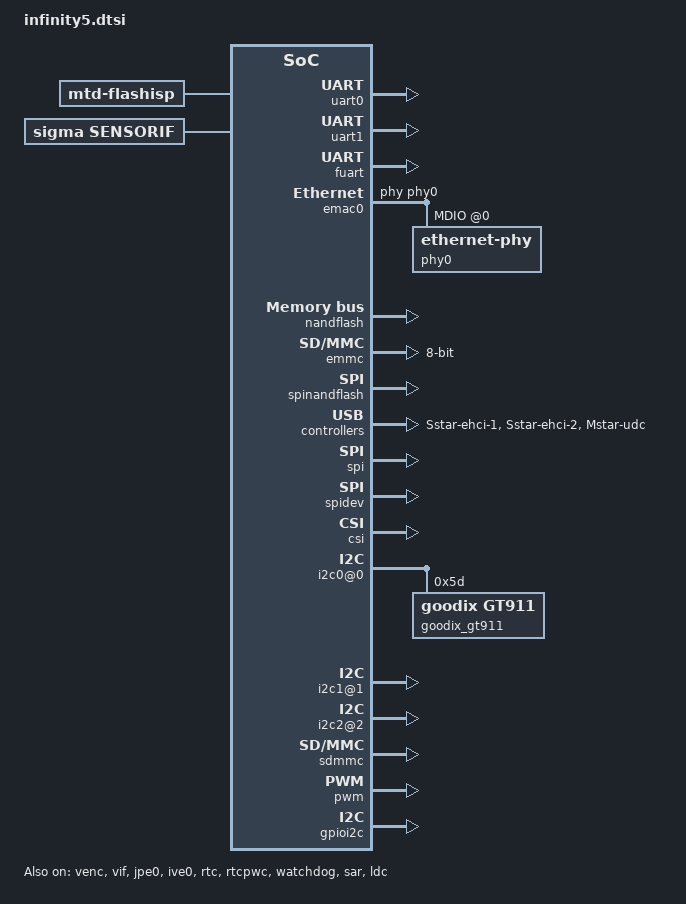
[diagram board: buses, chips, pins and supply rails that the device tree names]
/*
* infinity5.dtsi- Sigmastar
*
* Copyright (c) [2019~2020] SigmaStar Technology.
*
*
* This software is licensed under the terms of the GNU General Public
* License version 2, as published by the Free Software Foundation, and
* may be copied, distributed, and modified under those terms.
*
* This program is distributed in the hope that it will be useful,
* but WITHOUT ANY WARRANTY; without even the implied warranty of
* MERCHANTABILITY or FITNESS FOR A PARTICULAR PURPOSE.  See the
* GNU General Public License version 2 for more details.
*
*/

#include <../../../../drivers/sstar/include/infinity5/irqs.h>
#include <../../../../drivers/sstar/include/infinity5/gpio.h>
#include <dt-bindings/interrupt-controller/irq.h>
#include <dt-bindings/interrupt-controller/arm-gic.h>
#include "skeleton.dtsi"


/ {
    cpus {
        #address-cells = <1>;
        #size-cells = <0>;

        cpu@0 {
            device_type = "cpu";
            compatible = "arm,cortex-a7";
            clocks = <&CLK_cpupll_clk>;
        };
    };

    aliases {
        console = &uart0;
        serial0 = &uart0;
        serial1 = &uart1;
        serial2 = &fuart;
    };

    soc {
        compatible = "simple-bus";
        interrupt-parent = <&ms_main_intc>;
        #address-cells = <1>;
        #size-cells = <1>;
        ranges;

        gic: gic@16000000 {
            compatible = "arm,cortex-a7-gic";
            #interrupt-cells = <3>;
            #address-cells = <1>;
            #size-cells = <1>;
            interrupt-controller;
            interrupt-parent = <&gic>;
            reg = <0x16001000 0x1000>,
                  <0x16002000 0x1000>;
        };

        ms_main_intc: ms_main_intc {
            compatible = "sstar,main-intc";
            #interrupt-cells = <3>;
            #address-cells = <1>;
            #size-cells = <1>;
            interrupt-parent=<&gic>;
            interrupt-controller;
        };

        ms_pm_intc: ms_pm_intc {
            compatible = "sstar,pm-intc";
            #interrupt-cells = <1>;
            interrupt-parent=<&ms_main_intc>;
            interrupt-controller;
            interrupts = <GIC_SPI INT_IRQ_PM_SLEEP IRQ_TYPE_LEVEL_HIGH>;
        };

        arch_timer {
            compatible = "arm,cortex-a7-timer", "arm,armv7-timer";
            interrupt-parent=<&gic>;
            interrupts = <GIC_PPI 13 (GIC_CPU_MASK_SIMPLE(2) | IRQ_TYPE_LEVEL_LOW)>,
                         <GIC_PPI 14 (GIC_CPU_MASK_SIMPLE(2) | IRQ_TYPE_LEVEL_LOW)>,
                         <GIC_PPI 11 (GIC_CPU_MASK_SIMPLE(2) | IRQ_TYPE_LEVEL_LOW)>,
                         <GIC_PPI 10 (GIC_CPU_MASK_SIMPLE(2) | IRQ_TYPE_LEVEL_LOW)>;
            clock-frequency = <6000000>;
        };

        pmu {
            compatible = "arm,cortex-a7-pmu";
            interrupt-parent=<&gic>;
            interrupts = <GIC_SPI 10 IRQ_TYPE_LEVEL_HIGH>,
                         <GIC_SPI 16 IRQ_TYPE_LEVEL_HIGH>,
                         <GIC_SPI 22 IRQ_TYPE_LEVEL_HIGH>,
                         <GIC_SPI 28 IRQ_TYPE_LEVEL_HIGH>;
        };

        clks: clocks{
            #address-cells = <1>;
            #size-cells = <1>;
            ranges;
        };

/*
        timer_clockevent: timer@1F006040 {
            compatible = "sstar,piu-clockevent";
            reg = <0x1F006040 0x100>;
            interrupts=<GIC_SPI INT_FIQ_TIMER_0 IRQ_TYPE_LEVEL_HIGH>;
            clocks = <&CLK_xtali_12m>;
        };
*/

        venc{
            compatible = "sstar,venc";
            reg = <0x1F264800 0x100>, <0x1F264A00 0x100>, <0x1F264C00 0x100>,
                  <0x1F264E00 0x100>, <0x1F265000 0x100>,
                  <0x1F265200 0x100>, <0x1F265400 0x100>, <0x1F265600 0x100>, <0x1F265800 0x100>;
            reg-names = "mhe-0", "mhe-1", "mhe-2", "mfe-0", "mfe-1", "ven-0", "ven-1", "ven-2", "ven-3";
            interrupts = <GIC_SPI INT_IRQ_MHE IRQ_TYPE_LEVEL_HIGH>, <GIC_SPI INT_IRQ_MFE IRQ_TYPE_LEVEL_HIGH>;
            interrupt-parent = <&ms_main_intc>;
            interrupt-names = "mhe-irq", "mfe-irq";
            clocks = <&CLK_vhe>, <&CLK_miu_vhe>, <&CLK_riu_vhe_gp>, <&CLK_riu_w_clk_vhe_gp>, <&CLK_miu_vhe_gp_p>, <&CLK_miu_vhe_gp>;
            clock-names = "CKG_venc";
            status = "ok";
        };

        hvsp1: hvsp1 {
            compatible = "sstar,sclhvsp1_i2";
            //reg = <0x1F000000 0x100>;
            //clk,chiptop,hvsp0,sc0,dnr,ldc
            clocks = <&CLK_idclk>,<&CLK_fclk1>,<&CLK_fclk2>,<&CLK_odclk>;
            clock-names = "CLK_idclk","CLK_fclk1","CLK_fclk2","CLK_odclk";
            status = "ok";
            interrupts = <GIC_SPI INT_IRQ_SC_TOP IRQ_TYPE_LEVEL_HIGH>, <GIC_SPI INT_IRQ_SC1_TOP_INT IRQ_TYPE_LEVEL_HIGH>;
        };

        scldma1: scldma1 {
            compatible = "sstar,scldma1";
            //reg = <0x1F000000 0x100>;
            //clk,chiptop,scldma
            clocks =  <&CLK_idclk>,<&CLK_fclk1>,<&CLK_fclk2>,<&CLK_odclk>;
            clock-names = "CLK_idclk","CLK_fclk1","CLK_fclk2","CLK_odclk";
            status = "ok";
            interrupts = <GIC_SPI INT_IRQ_SC_TOP IRQ_TYPE_LEVEL_HIGH>;
        };
        scldma2: scldma2 {
            compatible = "sstar,scldma2";
            //reg = <0x1F000000 0x100>;
            //clk,chiptop,scldma
            clocks =  <&CLK_idclk>,<&CLK_fclk1>,<&CLK_fclk2>,<&CLK_odclk>;
            clock-names = "CLK_idclk","CLK_fclk1","CLK_fclk2","CLK_odclk";
            status = "ok";
            interrupts = <GIC_SPI INT_IRQ_SC_TOP IRQ_TYPE_LEVEL_HIGH>;
        };
        scldma3: scldma3 {
            compatible = "sstar,scldma3";
            //reg = <0x1F000000 0x100>;
            //clk,chiptop,scldma
            clocks =  <&CLK_idclk>,<&CLK_fclk1>,<&CLK_fclk2>,<&CLK_odclk>;
            clock-names = "CLK_idclk","CLK_fclk1","CLK_fclk2","CLK_odclk";
            status = "ok";
            interrupts = <GIC_SPI INT_IRQ_SC_TOP IRQ_TYPE_LEVEL_HIGH>;
        };
        scldma4: scldma4 {
            compatible = "sstar,scldma4";
            //reg = <0x1F000000 0x100>;
            //clk,chiptop,scldma
            clocks =  <&CLK_idclk>,<&CLK_fclk1>,<&CLK_fclk2>,<&CLK_odclk>;
            clock-names = "CLK_idclk","CLK_fclk1","CLK_fclk2","CLK_odclk";
            status = "ok";
            interrupts = <GIC_SPI INT_IRQ_SC_TOP IRQ_TYPE_LEVEL_HIGH>;
        };

        vip: vip {
            compatible = "sstar,vip";
            status = "ok";
            CMDQ-mode = <1>;
            //reg = <0x1F224000 0x200>;
        };

        pnl: pnl {
            compatible = "sstar,pnl";
            status = "ok";
            ttl-mode = <1>;
            jtag-mode = <1>;
            interrupts = <GIC_SPI INT_IRQ_SC2_TOP_INT IRQ_TYPE_LEVEL_HIGH>;
            //Reg = <0x1F224000 0x200>;
        };

        uart0: uart0@1F221000 {
            compatible = "sstar,uart";
            reg = <0x1F221000 0x100>;
            interrupts = <GIC_SPI INT_IRQ_UART_0 IRQ_TYPE_LEVEL_HIGH>;
            clocks = <&CLK_uart0>;
            status = "ok";
        };
        uart1: uart1@1F221200 {
            compatible = "sstar,uart";
            reg = <0x1F221200 0x100>;
            interrupts = <GIC_SPI INT_IRQ_UART_1 IRQ_TYPE_LEVEL_HIGH>;
            clocks = <&CLK_uart1>;
            pad = <PAD_UART1_TX>;
            //pad = <PAD_FUART_RTS>;
            //pad = <PAD_GPIO6>;
            status = "ok";
        };
        fuart: uart2@1F220400 {
            compatible = "sstar,uart";
            reg = <0x1F220400 0x100>, <0x1F220600 0x100>;
            interrupts = <GIC_SPI INT_IRQ_FUART IRQ_TYPE_LEVEL_HIGH>, <GIC_SPI INT_IRQ_URDMA IRQ_TYPE_LEVEL_HIGH>;
            clocks = <&CLK_fuart>;
            dma = <1>;
            pad = <PAD_UART0_TX>;
            //pad = <PAD_FUART_TX>;
            //pad = <PAD_GPIO4>;
            status = "ok";
        };

/*
        emac {
            compatible = "sstar-emac";
            interrupts = <GIC_SPI INT_IRQ_EMAC IRQ_TYPE_LEVEL_HIGH>, <GIC_SPI INT_FIQ_LAN_ESD IRQ_TYPE_LEVEL_HIGH>;
            clocks = <&CLK_emac_ahb>,<&CLK_emac_tx>,<&CLK_emac_rx>;
            //led-orange = <PAD_SPI0_DI>; //software toggle GPIO LED For QFN
            //led-green = <PAD_SPI0_DO>;  //software toggle GPIO LED For QFN
            status = "ok";
        };
*/

        emac0: emac0 {
            compatible = "sstar-emac";
            interrupts = <GIC_SPI INT_IRQ_EMAC IRQ_TYPE_LEVEL_HIGH>, <GIC_SPI INT_FIQ_LAN_ESD IRQ_TYPE_LEVEL_HIGH>;
            clocks = <&CLK_emac_ahb>,<&CLK_emac_tx>,<&CLK_emac_rx>;
            reg = <0x1F2A2000 0x800>, <0x1F343C00 0x600>, <0x1F006200 0x600>;
            pad = <0x1F203C3C 0x0004 0x0000>;
            phy-handle = <&phy0>;
            status = "ok";
            mdio-bus {
                phy0: ethernet-phy@0 {
                    phy-mode = "mii";
                };
            };
        };


        flashisp {
            compatible = "mtd-flashisp";
            clocks = <&CLK_bdma>;
            quadread = <0>;
            status = "ok";
        };

        nandflash {
            compatible = "ms-nand";
            clocks =<&CLK_fcie>, <&CLK_ecc>;
            interrupts =  <GIC_SPI INT_IRQ_FCIE IRQ_TYPE_LEVEL_HIGH>;
            status = "ok";
        };

        emmc {
            compatible = "sstar_mci";
            clocks =<&CLK_fcie>, <&CLK_ecc>;
            interrupts =  <GIC_SPI INT_IRQ_FCIE IRQ_TYPE_LEVEL_HIGH>;
            bus-width = <8>;
            status = "ok";
        };


        spinandflash {
            compatible = "ms-spinand";
            clocks =<&CLK_bdma>;
            status = "ok";
        };

        Sstar-ehci-1 {
            compatible = "Sstar-ehci-1";
            clocks = <&CLK_utmi>;
            interrupts = <GIC_SPI INT_IRQ_UHC IRQ_TYPE_LEVEL_HIGH>;
            status = "ok";
        };

        Sstar-ehci-2 {
            compatible = "Sstar-ehci-2";
            clocks = <&CLK_utmi>;
            interrupts = <GIC_SPI INT_IRQ_UHC_INT_P1 IRQ_TYPE_LEVEL_HIGH>;
            status = "ok";
        };

        isp: isp {
            compatible = "isp";
            io_phy_addr = <0x1f000000>;
            banks = <0x1302>;
            interrupts = <GIC_SPI INT_IRQ_ISP IRQ_TYPE_LEVEL_HIGH>;
            clocks = <&CLK_isp>;
            status = "ok";
            clock-frequency-index = <8>;
        };

        spi: spi {
            compatible = "sstar_spi";
            io_phy_addr = <0x1f000000>;
            banks = <0x1110>,<0x1111>,<0x1038>,<0x101E>;
            interrupts = <GIC_SPI INT_IRQ_MSPI_0 IRQ_TYPE_LEVEL_HIGH>,<GIC_SPI INT_IRQ_MSPI_1 IRQ_TYPE_LEVEL_HIGH>;
            spi0_mode = <1>;
            spi1_mode = <1>;
            status = "ok";
        };

        spidev: spidev {
            compatible = "spidev";
        };

        csi: csi {
            compatible = "csi";
            io_phy_addr = <0x1f000000>;
            banks = <0x1202>,<0x1203>,<0x1204>,<0x1205>,<0x1206>,<0x1207>,<0x1038>;
            interrupts = <GIC_SPI INT_IRQ_MIPI_CSI2_0 IRQ_TYPE_LEVEL_HIGH>,<GIC_SPI INT_IRQ_MIPI_CSI2_1 IRQ_TYPE_LEVEL_HIGH>;
            clocks = <&CLK_csi_mac_lptx_top_i_0>,<&CLK_csi_mac_top_i_0>,<&CLK_csi_ns_top_i_0>,<&CLK_csi_mac_lptx_top_i_1>,<&CLK_csi_mac_top_i_1>,<&CLK_csi_ns_top_i_1>;
            /* Config max lane number */
            csi_sr0_lane_num = <4>;
            csi_sr1_lane_num = <2>;
            status = "ok";
        };

        vif: vif {
            compatible = "sigma,vif";
            status = "ok";
            reg = <0x1F263800 0x600>, <0x0 0x0>, <0x0 0x0>, <0x0 0x0>, <0x0 0x0>, <0x0 0x0>, <0x1F203C00 0x200>, <0x1F226600 0x200>, <0x1F207000 0x200>, <0x1F000000 0x400000>;
            clocks = <&CLK_sr_mclk>,<&CLK_sr_mclk1>;
            interrupts = <GIC_SPI INT_IRQ_VIF IRQ_TYPE_LEVEL_HIGH>;
            /* Config sensor 0 pad mux */
            vif_sr0_par_mode = <6>;
            vif_sr0_mipi_mode_2lane = <2>;
            vif_sr0_mipi_mode_4lane = <1>;
            vif_sr0_bt656_mode = <1>;
            /* Config sensor 1 pad mux */
            vif_sr1_par_mode = <1>;
            vif_sr1_mipi_mode_1lane = <2>;
            vif_sr1_mipi_mode_2lane = <1>;
            vif_sr1_bt656_mode = <1>;
            /* Config mclk 37.125MHz supported */
            vif_sr0_mclk_37p125 = <1>;
            vif_sr1_mclk_37p125 = <1>;
        };

        ispalgo: ispalgo {
            compatible = "sstar,ispalgo";
            status = "ok";
        };

        ispmid: ispmid {
            compatible = "sstar,ispmid";
            status = "ok";
        };

        sensorif: sensorif {
            compatible = "sigma,sensorif";
            status = "ok";
            sensorif_grp0_i2c = <1>;
            sensorif_grp1_i2c = <2>;
        };

        middle: middle {
            compatible = "sstar,middle";
            status = "ok";
        };

        jpe0: jpe@0x1F264000 {
            compatible = "sstar,cedric-jpe";
            reg = <0x1F264000 0x100>;
            interrupts = <GIC_SPI INT_IRQ_JPE IRQ_TYPE_LEVEL_HIGH>;
            clocks = <&CLK_jpe>;
            clock-names = "CKG_jpe";
            clk-select = <0>; // 0: 384Mhz  1: 288MHz  2: 192MHz  3: 27MHz
            status = "ok";
        };

        ive0: ive@0x1F2A4000 {
            compatible = "sstar,infinity-ive";
            reg = <0x1F2A4000 0x100>,<0x1F2A4200 0x100>;
            interrupts = <GIC_SPI INT_IRQ_IVE_INT IRQ_TYPE_LEVEL_HIGH>;
            clocks = <&CLK_ive>,<&CLK_miu_ive>;
            status = "ok";
        };

        i2c0@0{
            compatible = "sstar,i2c";
            reg = <0x1F223000 0x200>,<0x1F203c00 0x200>,<0x1F207000 0x200>;
                #address-cells = <1>;
                #size-cells = <0>;
            clocks = <&CLK_miic0>;
            i2c-group = <0>;
            status = "ok";
            /*
             * padmux: 1 -> PAD_I2C0_SCL, PAD_I2C0_SDA
             *         2 -> PAD_PWM0, PAD_PWM1
             *         3 -> PAD_SNR0_D0, PAD_SNR0_D1
            */
            i2c-padmux = <1>;
            goodix_gt911@5D{
                compatible = "goodix,gt911";
                reg = <0x5D>;
                reset-gpio = <PAD_PM_GPIO9>;
                irq-gpio = <PAD_PM_GPIO10>;
            };
        };

        i2c1@1{
            compatible = "sstar,i2c";
            reg = <0x1F223200 0x200>,<0x1F203c00 0x200>,<0x1F207000 0x200>;
                #address-cells = <1>;
                #size-cells = <0>;
            clocks = <&CLK_miic1>;
            i2c-group = <1>;
            /*
             * padmux: 1 -> PAD_I2C1_SCL, PAD_I2C1_SDA
             *         2 -> PAD_PWM0, PAD_PWM1
             *         3 -> PAD_SNR0_GPIO2, PAD_SNR0_GPIO4
             *         4 -> PAD_SNR1_GPIO5, PAD_SNR1_GPIO6
            */
            i2c-padmux = <1>;
            status = "ok";
        };

        i2c2@2{
            compatible = "sstar,i2c";
            reg = <0x1F223400 0x200>,<0x1F203c00 0x200>,<0x1F207000 0x200>;
                #address-cells = <1>;
                #size-cells = <0>;
            clocks = <&CLK_miic2>;
            i2c-group = <2>;
            /*
             * padmux: 1 -> PAD_SNR1_GPIO5, PAD_SNR1_GPIO6
             *         2 -> PAD_UART0_RX, PAD_UART0_TX
             *         3 -> PAD_LCD_D4, PAD_LCD_D5
            */
            i2c-padmux = <1>;
            status = "ok";
        };

        i2c3@3{
            compatible = "sstar,i2c";
            reg = <0x1F223600 0x200>,<0x1F203C00 0x200>, <0x1F207000 0x200>;
                #address-cells = <1>;
                #size = <0>;
            clocks = <&CLK_miic3>;
            i2c-group = <3>;
            /*
             * padmux: 1 -> PAD_I2C0_SCL, PAD_I2C0_SDA
             *         2 -> PAD_NAND_DA2, PAD_NAND_DA3
             *         3 -> PAD_LCD_D0, PAD_LCD_D1
             *         4 -> PAD_LCD_D6, PAD_LCD_D7
             *         5 -> PAD_UART0_RX, PAD_UART0_TX
             */
            i2c-padmux = <2>;
            status = "disable";
        };

        gpio:gpio{
            compatible = "sstar,gpio";
        };

        sar-gpio{
            compatible = "sstar,sar-gpio";
            interrupts = <GIC_SPI INT_FIQ_SAR_GPIO_0 IRQ_TYPE_NONE>,
                         <GIC_SPI INT_FIQ_SAR_GPIO_1 IRQ_TYPE_NONE>,
                         <GIC_SPI INT_FIQ_SAR_GPIO_2 IRQ_TYPE_NONE>,
                         <GIC_SPI INT_FIQ_SAR_GPIO_3 IRQ_TYPE_NONE>;
        };

        sound {
            compatible = "sstar,audio";
//            reg = <0x1F000000 0x1000000>;
            interrupts=<GIC_SPI INT_IRQ_BACH IRQ_TYPE_LEVEL_HIGH>;
            playback-volume-level=<64>;    //0~94
            capture-volume-level=<64>;
           // micin-pregain-level=<1>;    //0~3
            micin-pregain-level=<0>;    //0~3
            micin-gain-level=<3>;    //0~7
            linein-gain-level=<2>;  //0~7
            amp-gpio = <PAD_PM_GPIO1  1>;
            clocks = <&CLK_upll_384m>;

            digmic-padmux = <6>; //1~6
            i2stdm-padmux = <1>; //only 1 mode
            i2smck-padmux = <1>; //only 1 mode
            i2smod-padmux = <0>; //0:i2s tdm, 1:i2s normal
            keep-i2s-clk = <0>;

            //I2S RX TDM
            i2s-rx-tdm-ws-pgm = <0>; // 0: OFF  1: ON
            i2s-rx-tdm-ws-width = <0>; // value: 0~31 (width = value + 1)
            i2s-rx-tdm-ch-swap = <0 0>; // 0: OFF  1: ON

            //I2S TX TDM
            i2s-tx-tdm-ws-pgm = <0>; // 0: OFF  1: ON
            i2s-tx-tdm-ws-width = <0>; // value: 0~31 (width = value + 1)
            i2s-tx-tdm-ch-swap = <0 0>; // 0: OFF  1: ON
            i2s-tx-tdm-active-slot = <0x03>; // value: 0x00 ~ 0xFF (bit0->slot0, bit1->slot1, ... )

            status = "ok";
        };

        sdmmc {
            compatible = "sstar,sdmmc";

            slotnum = <2>;
            revcdz = <0>;

            slot-ip-orders = <0>,<1>,<2>;
            slot-pad-orders = <2>,<0>,<1>;
            slot-max-clks = <48000000>,<48000000>,<48000000>;
            slot-intcdzs = <1>,<1>,<1>;
            slot-fakecdzs = <0>,<0>,<0>;
            slot-cdzs-gpios = <PAD_PM_IRIN>,<PAD_PM_SD_CDZ>,<0>; // Pad 0: PAD_PM_SD_CDZ
            slot-pwr-gpios = <PAD_PM_GPIO12>,<PAD_FUART_RTS>,<0>; // Pad 0: PAD_FUART_RTS
            slot-pwr-off-delay = <30>,<30>,<30>;
            slot-sdio-use = <0>,<0>,<0>;
						
            interrupts-extended = <&ms_main_intc GIC_SPI INT_IRQ_SDIO IRQ_TYPE_LEVEL_HIGH>,
                                 <&ms_main_intc GIC_SPI INT_IRQ_FCIE IRQ_TYPE_LEVEL_HIGH>,
                                 <&ms_main_intc GIC_SPI INT_IRQ_FCIE IRQ_TYPE_LEVEL_HIGH>,
                                 <&ms_pm_intc INT_PMSLEEP_IRIN>,
                                 <&ms_main_intc GIC_SPI INT_FIQ_SD_CDZ IRQ_TYPE_LEVEL_HIGH>,
                                 <&ms_main_intc GIC_SPI INT_FIQ_SD_CDZ IRQ_TYPE_LEVEL_HIGH>;
            interrupt-names = "mie0_irq", "mie1_irq", "mie2_irq", "cdz_slot0_irq", "cdz_slot1_irq", "cdz_slot2_irq";
            clocks = <&CLK_sdio>,<&CLK_fcie>,<&CLK_fcie>,
                     <&CLK_sdio>,<&CLK_fcie>,<&CLK_fcie>,
                     <&CLK_sdio>,<&CLK_fcie>,<&CLK_fcie>;
            status = "ok";
        };

        aesdma {
            compatible = "sstar,infinity-aes";
            interrupts=<GIC_SPI INT_IRQ_WADR_ERROR IRQ_TYPE_LEVEL_HIGH>;
            clocks = <&CLK_aesdma>;
            status = "ok";
        };

        bdma0 {
            compatible = "sstar,bdma0";
            interrupts=<GIC_SPI INT_IRQ_BDMA_0 IRQ_TYPE_LEVEL_HIGH>;
            clocks = <&CLK_bdma>,<&CLK_miu_bdma>;
            status = "ok";
        };

        bdma1 {
            compatible = "sstar,bdma1";
            interrupts=<GIC_SPI INT_IRQ_BDMA_1 IRQ_TYPE_LEVEL_HIGH>;
            clocks = <&CLK_bdma>,<&CLK_miu_bdma>;
            status = "ok";
        };

        bdma2 {
            compatible = "sstar,bdma2";
            interrupts=<GIC_SPI INT_IRQ_BDMA_2 IRQ_TYPE_LEVEL_HIGH>;
            clocks = <&CLK_bdma>,<&CLK_miu_bdma>;
            status = "ok";
        };

        bdma3 {
            compatible = "sstar,bdma3";
            interrupts=<GIC_SPI INT_IRQ_BDMA_3 IRQ_TYPE_LEVEL_HIGH>;
            clocks = <&CLK_bdma>,<&CLK_miu_bdma>;
            status = "ok";
        };

        movdma {
            compatible = "sstar,movdma";
            interrupts=<GIC_SPI INT_IRQ_MOVEDMA IRQ_TYPE_LEVEL_HIGH>;
            clocks = <&CLK_miu>;
            status = "ok";
        };

        gop {
            compatible = "sstar,infinity-gop";
            clocks = <&CLK_gop0>,<&CLK_fclk1>;
            status = "ok";
        };

        gop1 {
            compatible = "sstar,infinity-gop1";
            clocks = <&CLK_gop1>,<&CLK_fclk1>;
            status = "ok";
        };

        gop2 {
            compatible = "sstar,infinity-gop2";
            clocks = <&CLK_gop2>,<&CLK_fclk2>;
            status = "ok";
        };

        rtc {
            compatible = "sstar,infinity-rtc";
            reg = <0x1F002400 0x40>;
            interrupts=<GIC_SPI INT_IRQ_RTC IRQ_TYPE_LEVEL_HIGH>;
            clocks = <&CLK_rtc>;
            status = "ok";
        };

        rtcpwc {
            compatible = "sstar,infinity-rtcpwc";
            reg = <0x1F006800 0x200>;
            interrupts=<GIC_SPI INT_IRQ_RTC IRQ_TYPE_LEVEL_HIGH>; //need to check
            clocks = <&CLK_rtc>;
            status = "ok";
        };
        cpufreq {
            compatible = "sstar,infinity-cpufreq";
            vid0-gpio = <PAD_PM_GPIO7>;
            vid1-gpio = <PAD_PM_GPIO8>;
            status = "ok";
        };

        watchdog: watchdog {
            compatible = "sstar,infinity-wdt";
            reg = <0x1F006000 0x40>;
            status = "ok";
        };

        sar: sar {
            compatible = "sstar,infinity-sar";
            reg = <0x1F002800 0x200>;
            status = "ok";
        };

        ircut {
            compatible = "sstar,infinity-ircut";
            ircut-gpio-num = <PAD_PM_IRIN>;///PM_GPIO_IRIN
            interrupt-parent = <&ms_pm_intc>;
            interrupts = <INT_PMSLEEP_IRIN>;
            status = "ok";
        };

        pwm {
            compatible = "sstar,infinity-pwm";
            reg = <0x1F003400 0x400>;
            clocks = <&CLK_xtali_12m>;
            npwm = <8>;
            pad-ctrl = <PAD_PWM0 PAD_PWM1 PAD_UNKNOWN PAD_UNKNOWN PAD_NAND_DA4 PAD_UNKNOWN PAD_UNKNOWN PAD_NAND_DA7>;
            status = "ok";
        };

        gpioi2c {
            compatible = "sstar,infinity-gpioi2c";
            sda-gpio = <PAD_GPIO8>;
            scl-gpio = <PAD_GPIO9>;
            status = "ok";
        };

        cmdq0 {
            compatible = "sstar,cmdq0";
            interrupts=<GIC_SPI INT_IRQ_CMDQ IRQ_TYPE_LEVEL_HIGH>;
            status = "ok";
        };

        cmdq1 {
            compatible = "sstar,cmdq1";
            interrupts=<GIC_SPI INT_IRQ_CMDQ1 IRQ_TYPE_LEVEL_HIGH>;
            status = "ok";
        };

        cmdq2 {
            compatible = "sstar,cmdq2";
            interrupts=<GIC_SPI INT_IRQ_CMDQ2 IRQ_TYPE_LEVEL_HIGH>;
            status = "ok";
        };

        cmdq3 {
            compatible = "sstar,cmdq3";
            interrupts=<GIC_SPI INT_IRQ_CMDQ3 IRQ_TYPE_LEVEL_HIGH>;
            status = "ok";
        };

        dip {
            compatible = "sstar,dip";
            interrupts=<GIC_SPI INT_IRQ_DIP IRQ_TYPE_LEVEL_HIGH>;
            clocks = <&CLK_dip>;
            status = "ok";
        };

        dla: dla {
            compatible = "sstar-dla";
            interrupts=<GIC_SPI INT_IRQ_DLA_IRQ IRQ_TYPE_LEVEL_HIGH>;
            status = "ok";
        };

        /*
        pm {
            compatible = "sstar,infinity-pm";
            interrupt-parent = <&ms_pm_intc>;
            interrupts = <INT_PMSLEEP_GPIO_0>;
            detect-gpio = <PAD_PM_GPIO0>;
        };
        */

        Mstar-udc {
            compatible = "sstar,infinity-udc";
            interrupts = <GIC_SPI INT_IRQ_OTG IRQ_TYPE_LEVEL_HIGH>;
            status = "ok";
        };

        ldc: ldc {
            compatible = "sstar,ldc";
            reg = <0x1F245400 0x100>, <0x1F245600 0x100>, <0x1F245800 0x100>;
            interrupts=<GIC_SPI INT_IRQ_LDC_FEYE IRQ_TYPE_LEVEL_HIGH>;
            clocks = <&CLK_fclk2>;
            //clock-names = "CKG_ldc";
            //clk-select = <0>; // 0: 288MHz  1: 86MHz  2: 216MHz  3: 320MHz
            status = "ok";
        };
    };
};

&clks {
    #include <../../../../drivers/sstar/include/infinity5/reg_clks.h>
    #include "infinity5-clks.dtsi"
};
